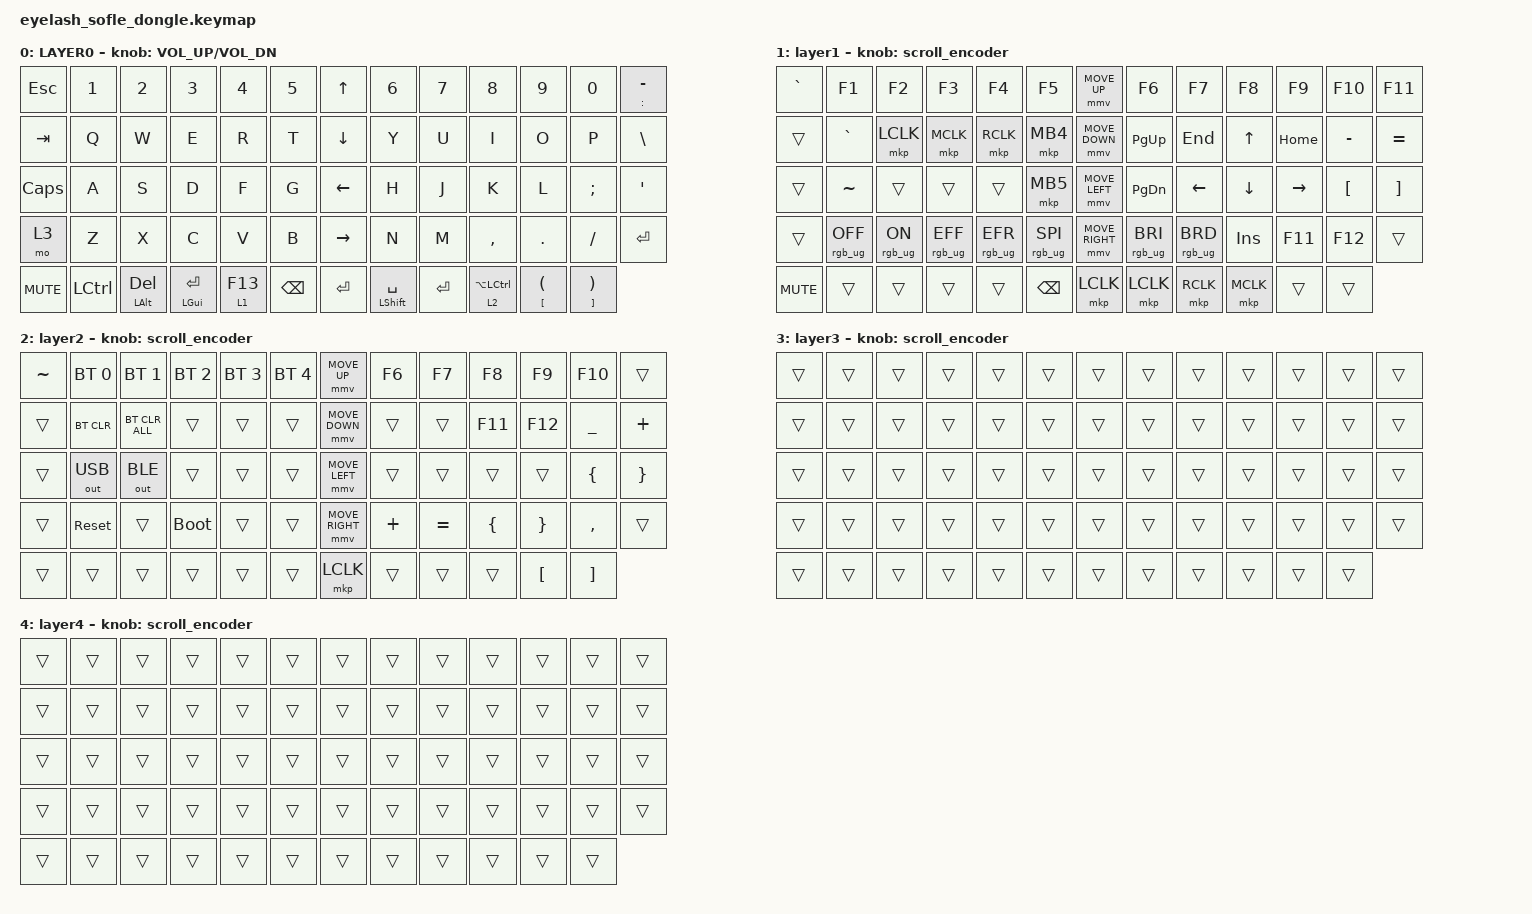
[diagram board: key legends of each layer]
#define ZMK_POINTING_DEFAULT_MOVE_VAL 2000  // 600
#define ZMK_POINTING_DEFAULT_SCRL_VAL 50   // 10

#include <input/processors.dtsi>
#include <zephyr/dt-bindings/input/input-event-codes.h>
#include <behaviors.dtsi>
#include <dt-bindings/zmk/bt.h>
#include <dt-bindings/zmk/keys.h>
#include <dt-bindings/zmk/outputs.h>
#include <dt-bindings/zmk/pointing.h>
#include <dt-bindings/zmk/rgb.h>

&mmv_input_listener { input-processors = <&zip_xy_scaler 3 2>; };

&msc_input_listener { input-processors = <&zip_scroll_scaler 2 1>; };

&msc {
    acceleration-exponent = <1>;      // 0
    time-to-max-speed-ms = <100>;       // 300
    delay-ms = <0>;                   // 0
};

&mmv {
    time-to-max-speed-ms = <500>;
    acceleration-exponent = <2>;
    trigger-period-ms = <9>;
};

&soft_off { hold-time-ms = <2000>; };

/ {
    scroll_encoder: scroll_encoder {
        compatible = "zmk,behavior-sensor-rotate";
        #sensor-binding-cells = <0>;
        bindings = <&msc SCRL_DOWN>, <&msc SCRL_UP>;

        tap-ms = <100>;
    };

    custom_tapprefer: custom_tapprefer {
        compatible = "zmk,behavior-hold-tap";
        label = "CUSTOM_TAPPREFER";
        bindings = <&kp>, <&kp>;

        #binding-cells = <2>;
        tapping-term-ms = <250>;
        quick-tap-ms = <175>;
        flavor = "tap-preferred";
    };

    behaviors {
    };

    combos {
        compatible = "zmk,combos";

        softoff {
            bindings = <&soft_off>;
            key-positions = <14 28 40>;
        };
    };

    keymap {
        compatible = "zmk,keymap";

        layer0 {
            bindings = <
&kp ESC     &kp N1     &kp N2            &kp N3              &kp N4     &kp N5           &kp UP_ARROW     &kp N6                              &kp N7     &kp N8                  &kp N9                 &kp N0                               &mt COLON MINUS
&kp TAB     &kp Q      &kp W             &kp E               &kp R      &kp T            &kp DOWN_ARROW   &kp Y                               &kp U      &kp I                   &kp O                  &kp P                                &kp BSLH
&kp CAPS    &kp A      &kp S             &kp D               &kp F      &kp G            &kp LEFT_ARROW   &kp H                               &kp J      &kp K                   &kp L                  &kp SEMI                             &kp APOS
&mo 3       &kp Z      &kp X             &kp C               &kp V      &kp B            &kp RIGHT_ARROW  &kp N                               &kp M      &kp COMMA               &kp DOT                &kp FSLH                             &kp ENTER
&kp C_MUTE  &kp LCTRL  &mt LEFT_ALT DEL  &mt LEFT_GUI ENTER  &lt 1 F13  &kp BACKSPACE    &kp ENTER        &custom_tapprefer LEFT_SHIFT SPACE  &kp ENTER  &lt 2 LA(LEFT_CONTROL)  &mt LEFT_BRACKET LPAR  &mt RIGHT_BRACKET RIGHT_PARENTHESIS
            >;

            sensor-bindings = <&inc_dec_kp C_VOLUME_UP C_VOL_DN>;
            display-name = "LAYER0";
        };

        layer_1 {
            bindings = <
&kp GRAVE   &kp F1           &kp F2          &kp F3           &kp F4           &kp F5             &mmv MOVE_UP     &kp F6           &kp F7           &kp F8      &kp F9     &kp F10           &kp F11
&trans      &kp GRAVE        &mkp LCLK       &mkp MCLK        &mkp RCLK        &mkp MB4           &mmv MOVE_DOWN   &kp PG_UP        &kp END          &kp UP      &kp HOME   &kp MINUS         &kp EQUAL
&trans      &kp TILDE        &trans          &trans           &trans           &mkp MB5           &mmv MOVE_LEFT   &kp PG_DN        &kp LEFT         &kp DOWN    &kp RIGHT  &kp LEFT_BRACKET  &kp RIGHT_BRACKET
&trans      &rgb_ug RGB_OFF  &rgb_ug RGB_ON  &rgb_ug RGB_EFF  &rgb_ug RGB_EFR  &rgb_ug RGB_SPI    &mmv MOVE_RIGHT  &rgb_ug RGB_BRI  &rgb_ug RGB_BRD  &kp INSERT  &kp F11    &kp F12           &trans
&kp C_MUTE  &trans           &trans          &trans           &trans           &kp BACKSPACE      &mkp LCLK        &mkp LCLK        &mkp RCLK        &mkp MCLK   &trans     &trans
            >;

            display-name = "layer1";
            sensor-bindings = <&scroll_encoder>;
        };

        layer_2 {
            bindings = <
&kp TILDE  &bt BT_SEL 0  &bt BT_SEL 1    &bt BT_SEL 2  &bt BT_SEL 3  &bt BT_SEL 4    &mmv MOVE_UP     &kp F6    &kp F7     &kp F8          &kp F9            &kp F10            &trans
&trans     &bt BT_CLR    &bt BT_CLR_ALL  &trans        &trans        &trans          &mmv MOVE_DOWN   &trans    &trans     &kp F11         &kp F12           &kp UNDER          &kp PLUS
&trans     &out OUT_USB  &out OUT_BLE    &trans        &trans        &trans          &mmv MOVE_LEFT   &trans    &trans     &trans          &trans            &kp LBRC           &kp RBRC
&trans     &sys_reset    &trans          &bootloader   &trans        &trans          &mmv MOVE_RIGHT  &kp PLUS  &kp EQUAL  &kp LEFT_BRACE  &kp RIGHT_BRACE   &kp COMMA          &trans
&trans     &trans        &trans          &trans        &trans        &trans          &mkp LCLK        &trans    &trans     &trans          &kp LEFT_BRACKET  &kp RIGHT_BRACKET
            >;

            display-name = "layer2";
            sensor-bindings = <&scroll_encoder>;
        };

        layer_3 {
            bindings = <
&trans  &trans  &trans  &trans  &trans  &trans    &trans  &trans  &trans  &trans  &trans  &trans  &trans
&trans  &trans  &trans  &trans  &trans  &trans    &trans  &trans  &trans  &trans  &trans  &trans  &trans
&trans  &trans  &trans  &trans  &trans  &trans    &trans  &trans  &trans  &trans  &trans  &trans  &trans
&trans  &trans  &trans  &trans  &trans  &trans    &trans  &trans  &trans  &trans  &trans  &trans  &trans
&trans  &trans  &trans  &trans  &trans  &trans    &trans  &trans  &trans  &trans  &trans  &trans
            >;

            display-name = "layer3";
            sensor-bindings = <&scroll_encoder>;
        };

        layer_4 {
            bindings = <
&trans  &trans  &trans  &trans  &trans  &trans    &trans  &trans  &trans  &trans  &trans  &trans  &trans
&trans  &trans  &trans  &trans  &trans  &trans    &trans  &trans  &trans  &trans  &trans  &trans  &trans
&trans  &trans  &trans  &trans  &trans  &trans    &trans  &trans  &trans  &trans  &trans  &trans  &trans
&trans  &trans  &trans  &trans  &trans  &trans    &trans  &trans  &trans  &trans  &trans  &trans  &trans
&trans  &trans  &trans  &trans  &trans  &trans    &trans  &trans  &trans  &trans  &trans  &trans
            >;

            display-name = "layer4";
            sensor-bindings = <&scroll_encoder>;
        };
    };
};
